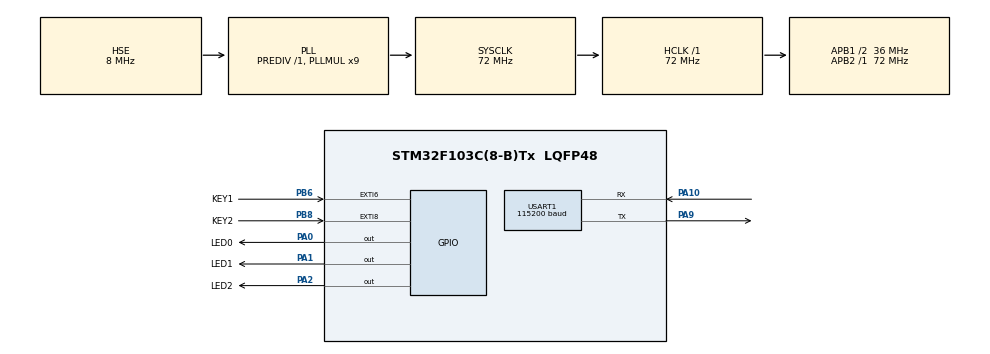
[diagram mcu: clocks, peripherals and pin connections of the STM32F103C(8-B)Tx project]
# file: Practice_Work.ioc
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Dma.Request0=USART1_RX
Dma.Request1=USART1_TX
Dma.USART1_RX.0.Direction=DMA_PERIPH_TO_MEMORY
Dma.USART1_RX.0.Instance=DMA1_Channel5
Dma.USART1_RX.0.MemDataAlignment=DMA_MDATAALIGN_BYTE
Dma.USART1_RX.0.MemInc=DMA_MINC_ENABLE
Dma.USART1_RX.0.Mode=DMA_NORMAL
Dma.USART1_RX.0.PeriphDataAlignment=DMA_PDATAALIGN_BYTE
Dma.USART1_RX.0.PeriphInc=DMA_PINC_DISABLE
Dma.USART1_RX.0.Priority=DMA_PRIORITY_LOW
Dma.USART1_TX.1.Direction=DMA_MEMORY_TO_PERIPH
Dma.USART1_TX.1.Instance=DMA1_Channel4
Dma.USART1_TX.1.MemDataAlignment=DMA_MDATAALIGN_BYTE
Dma.USART1_TX.1.MemInc=DMA_MINC_ENABLE
Dma.USART1_TX.1.Mode=DMA_NORMAL
Dma.USART1_TX.1.PeriphDataAlignment=DMA_PDATAALIGN_BYTE
Dma.USART1_TX.1.PeriphInc=DMA_PINC_DISABLE
Dma.USART1_TX.1.Priority=DMA_PRIORITY_LOW
Mcu.Family=STM32F1
Mcu.Name=STM32F103C(8-B)Tx
Mcu.Package=LQFP48
NVIC.DMA1_Channel4_IRQn=true\:0\:0\:false\:false\:true\:false\:true\:true
NVIC.DMA1_Channel5_IRQn=true\:0\:0\:false\:false\:true\:false\:true\:true
NVIC.EXTI9_5_IRQn=true\:0\:0\:false\:false\:true\:true\:true\:true
NVIC.PriorityGroup=NVIC_PRIORITYGROUP_4
NVIC.USART1_IRQn=true\:0\:0\:false\:false\:true\:true\:true\:true
PA0-WKUP.GPIO_Label=LED0
PA0-WKUP.PinState=GPIO_PIN_SET
PA0-WKUP.Signal=GPIO_Output
PA1.GPIO_Label=LED1
PA1.PinState=GPIO_PIN_SET
PA1.Signal=GPIO_Output
PA10.Mode=Asynchronous
PA10.Signal=USART1_RX
PA13.Mode=Serial_Wire
PA13.Signal=SYS_JTMS-SWDIO
PA14.Mode=Serial_Wire
PA14.Signal=SYS_JTCK-SWCLK
PA2.GPIO_Label=LED2
PA2.PinState=GPIO_PIN_SET
PA2.Signal=GPIO_Output
PA9.Mode=Asynchronous
PA9.Signal=USART1_TX
PB6.GPIO_Label=KEY1
PB6.GPIO_ModeDefaultEXTI=GPIO_MODE_IT_RISING
PB6.GPIO_PuPd=GPIO_PULLDOWN
PB6.Signal=GPXTI6
PB8.GPIO_Label=KEY2
PB8.GPIO_PuPd=GPIO_PULLDOWN
PB8.Signal=GPXTI8
PD0-OSC_IN.Mode=HSE-External-Oscillator
PD0-OSC_IN.Signal=RCC_OSC_IN
PD1-OSC_OUT.Mode=HSE-External-Oscillator
PD1-OSC_OUT.Signal=RCC_OSC_OUT
ProjectManager.HeapSize=0x200
ProjectManager.StackSize=0x400
ProjectManager.TargetToolchain=STM32CubeIDE
RCC.AHBFreq_Value=72000000
RCC.APB1CLKDivider=RCC_HCLK_DIV2
RCC.APB1Freq_Value=36000000
RCC.APB1TimFreq_Value=72000000
RCC.APB2Freq_Value=72000000
RCC.APB2TimFreq_Value=72000000
RCC.HCLKFreq_Value=72000000
RCC.PLLMUL=RCC_PLL_MUL9
RCC.PLLSourceVirtual=RCC_PLLSOURCE_HSE
RCC.SYSCLKFreq_VALUE=72000000
RCC.SYSCLKSource=RCC_SYSCLKSOURCE_PLLCLK
RCC.USBFreq_Value=72000000
USART1.BaudRate=115200
USART1.VirtualMode=VM_ASYNC
board=custom

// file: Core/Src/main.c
/* USER CODE BEGIN Header */
/**
  ******************************************************************************
  * @file           : main.c
  * @brief          : Main program body
  ******************************************************************************
  * @attention
  *
  * Copyright (c) 2026 STMicroelectronics.
  * All rights reserved.
  *
  * This software is licensed under terms that can be found in the LICENSE file
  * in the root directory of this software component.
  * If no LICENSE file comes with this software, it is provided AS-IS.
  *
  ******************************************************************************
  */
/* USER CODE END Header */
#include "main.h"
#include "dma.h"
#include "usart.h"
#include "gpio.h"

/* USER CODE BEGIN Includes */
#include "OLED.h"
#include <stdio.h>
#include <string.h>
/* USER CODE END Includes */

/* USER CODE BEGIN PTD */
typedef struct __attribute__((packed))//6字节 1包头位 1切灯控制位 1方向位 2延时位 1校验和
{
  uint8_t rx_header;
  uint8_t rx_run_cmd;
  uint8_t rx_dir;
  uint16_t rx_interval_ms;
  uint8_t rx_check_sum;
} ReceivePacket_t;
/* USER CODE END PTD */

/* USER CODE BEGIN PV */
//LED流水灯相关变量定义
int8_t led_chaser_status = 0;//流水灯状态机标志位置
uint32_t led_last_tick = 0;//流水灯最新时间戳
uint16_t run_interval_ms = 300;//切灯时间
uint8_t run_cmd = 1;//切灯允许控制
//按键相关变量定义
uint8_t key1_num = 0;//切换流水灯方向 0正向 1反向
uint8_t key2_num = 1;//控制流水灯是否切灯 0不切 1切

volatile uint8_t key1_trigger = 0;//按键1触发检测
volatile uint8_t key2_trigger = 0;//按键2触发检测

volatile uint32_t key1_tri_tick = 0;//按键1触发时间戳
volatile uint32_t key2_tri_tick = 0;//按键1触发时间戳
//串口相关变量定义
ReceivePacket_t receive_packet;//创建一个接收数据缓冲区
volatile uint8_t rx_ready = 0;//接收完成标志位
uint8_t tx_packet[80];//反馈发送缓冲区
volatile uint8_t tx_ready = 0;//可以发送标志位
//OLED相关变量定义
uint32_t oled_last_tick = 0; //OLED刷新时间戳

/* USER CODE END PV */

void SystemClock_Config(void);
/* USER CODE BEGIN PFP */
void Build_FeedBack_String(void);//拼接发送反馈字符串存到tx_packet中
/* USER CODE END PFP */

int main(void)
{

  /* MCU Configuration--------------------------------------------------------*/

  /* Reset of all peripherals, Initializes the Flash interface and the Systick. */
  HAL_Init();

  /* Configure the system clock */
  SystemClock_Config();

  /* Initialize all configured peripherals */
  MX_GPIO_Init();
  MX_DMA_Init();
  MX_USART1_UART_Init();
  /* USER CODE BEGIN 2 */
  led_last_tick = HAL_GetTick();//流水灯获取初始时间戳
  oled_last_tick = HAL_GetTick();//OLED获取初始化时间戳

  OLED_Init();//OLED显示初始化

  __HAL_UART_CLEAR_OREFLAG(&huart1);//清理溢出防串口失控
  HAL_UART_Receive_IT(&huart1, (uint8_t*)&receive_packet,sizeof(receive_packet));//上膛
  /* USER CODE END 2 */

  /* Infinite loop */
  /* USER CODE BEGIN WHILE */
  while (1)
  {
    //OLED部分
    if (HAL_GetTick() - oled_last_tick >= 20)//100ms刷新一次
    {
      oled_last_tick = HAL_GetTick();//更新时间戳

      char temp_buffer[17];//拼装存储地址

      if (key2_num)//1表切灯
        snprintf(temp_buffer,sizeof(temp_buffer),"STATE:RUN       ");
      else
        snprintf(temp_buffer,sizeof(temp_buffer),"STATE:STOP      ");
      OLED_ShowString(1,1, temp_buffer);

      if (key1_num)//1表反向
        snprintf(temp_buffer,sizeof(temp_buffer),"DIR:REV         ");
      else
        snprintf(temp_buffer,sizeof(temp_buffer),"DIR:FWD         ");
      OLED_ShowString(2,1, temp_buffer);

      snprintf(temp_buffer,sizeof(temp_buffer),"STEP:%04ums     ", run_interval_ms);//打印切灯时间
      OLED_ShowString(3,1, temp_buffer);

      snprintf(temp_buffer,sizeof(temp_buffer),"LED:%u          ", led_chaser_status);//打印亮的LED编号
      OLED_ShowString(4,1, temp_buffer);

    }
    //流水灯部分
    if (HAL_GetTick() - led_last_tick >= run_interval_ms)//轮询判断切灯时间到没到
    {
      led_last_tick = HAL_GetTick();//更新时间戳

      if (key2_num  == 1)//切灯使能判断
      {
        //先全部熄灭
        HAL_GPIO_WritePin(LED0_GPIO_Port, LED0_Pin, GPIO_PIN_SET);
        HAL_GPIO_WritePin(LED1_GPIO_Port, LED1_Pin, GPIO_PIN_SET);
        HAL_GPIO_WritePin(LED2_GPIO_Port, LED2_Pin, GPIO_PIN_SET);

        switch (led_chaser_status)//状态机选择亮的灯
        {
        case 0:
          HAL_GPIO_WritePin(LED0_GPIO_Port, LED0_Pin, GPIO_PIN_RESET);
          break;
        case 1:
          HAL_GPIO_WritePin(LED1_GPIO_Port, LED1_Pin, GPIO_PIN_RESET);
          break;
        case 2:
          HAL_GPIO_WritePin(LED2_GPIO_Port, LED2_Pin, GPIO_PIN_RESET);
          break;
        default:
          led_chaser_status = 0;//状态修正
          break;
        }

        //状态迁移 1反向 0正向
        if (key1_num)
          led_chaser_status--;
        else
          led_chaser_status++;

        //状态修正
        if (led_chaser_status == 3)
          led_chaser_status = 0;
        if (led_chaser_status == -1)
          led_chaser_status = 2;
      }
    }

    //按键修改流水灯状态部分
    if (key1_trigger && HAL_GetTick() - key1_tri_tick >= 20)//KEY1 切方向发生与否判断 + 延时消抖
    {
      if (HAL_GPIO_ReadPin(KEY1_GPIO_Port, KEY1_Pin) == GPIO_PIN_SET)//判断是否为震荡
      {
        while (HAL_GPIO_ReadPin(KEY1_GPIO_Port, KEY1_Pin) == GPIO_PIN_SET);//松手检测
        key1_num = !key1_num;//切灯方向取反
        tx_ready = 1;//打上发送标记
      }
      key1_trigger = 0;//无论是否为震荡 都消费
    }

    if (key2_trigger && HAL_GetTick() - key2_tri_tick >= 20)//KEY1 切灯使能判断 + 延时消抖
    {
      if (HAL_GPIO_ReadPin(KEY2_GPIO_Port, KEY2_Pin) == GPIO_PIN_SET)//判断是否为震荡
      {
        while (HAL_GPIO_ReadPin(KEY2_GPIO_Port, KEY2_Pin) == GPIO_PIN_SET);//松手检测
        key2_num = !key2_num;//切灯使能取反
        tx_ready = 1;//打上发送标记
      }
      key2_trigger = 0;//无论是否为震荡 都消费
    }

    //串口数据控制流水灯部分
    if (rx_ready)//发送完毕判断
    {
      rx_ready = 0;//消费
      ReceivePacket_t temp_packet = receive_packet;//拷贝防覆盖
      uint8_t *prx_packet = (uint8_t*)&temp_packet;
      uint8_t temp_sum = prx_packet[0] + prx_packet[1] + prx_packet[2] + prx_packet[3] + prx_packet[4];//实际校验和 高位截断
      if (temp_packet.rx_header == 0xAA //包头建议
        && temp_packet.rx_check_sum == temp_sum//校验和检验
        && temp_packet.rx_dir <= 1//防呆
        && temp_packet.rx_run_cmd <= 1//防呆
        && temp_packet.rx_interval_ms >= 100//时间合规检定
        && temp_packet.rx_interval_ms <= 2000)
      {
        //流水灯状态参数修改
        key1_num = temp_packet.rx_dir;//key控方向
        key2_num = temp_packet.rx_run_cmd;//key控切灯使能
        run_interval_ms = temp_packet.rx_interval_ms;//改切灯时间

        tx_ready = 1;//打上发送标记
      }
      //异常数据包直接丢弃
      __HAL_UART_CLEAR_OREFLAG(&huart1);//清理溢出防串口失控
      HAL_UART_Receive_IT(&huart1, (uint8_t*)&receive_packet,sizeof(receive_packet));//重上膛
    }

    //串口发送反馈
    if (tx_ready)//判断状态是否更新
    {
      if (huart1.gState == HAL_UART_STATE_READY)//判断uart1句柄是否空闲 防串口占用发送失败
      {
        Build_FeedBack_String();//把数据拼到tx_packet中
        HAL_UART_Transmit_DMA(&huart1, (uint8_t*)tx_packet,strlen((const char*)tx_packet));
        tx_ready = 0;//消费
      }
    }
    /* USER CODE END WHILE */

  }
}

void SystemClock_Config(void)
{
  RCC_OscInitTypeDef RCC_OscInitStruct = {0};
  RCC_ClkInitTypeDef RCC_ClkInitStruct = {0};

  /** Initializes the RCC Oscillators according to the specified parameters
  * in the RCC_OscInitTypeDef structure.
  */
  RCC_OscInitStruct.OscillatorType = RCC_OSCILLATORTYPE_HSE;
  RCC_OscInitStruct.HSEState = RCC_HSE_ON;
  RCC_OscInitStruct.HSEPredivValue = RCC_HSE_PREDIV_DIV1;
  RCC_OscInitStruct.HSIState = RCC_HSI_ON;
  RCC_OscInitStruct.PLL.PLLState = RCC_PLL_ON;
  RCC_OscInitStruct.PLL.PLLSource = RCC_PLLSOURCE_HSE;
  RCC_OscInitStruct.PLL.PLLMUL = RCC_PLL_MUL9;
  if (HAL_RCC_OscConfig(&RCC_OscInitStruct) != HAL_OK)
  {
    Error_Handler();
  }

  /** Initializes the CPU, AHB and APB buses clocks
  */
  RCC_ClkInitStruct.ClockType = RCC_CLOCKTYPE_HCLK|RCC_CLOCKTYPE_SYSCLK
                              |RCC_CLOCKTYPE_PCLK1|RCC_CLOCKTYPE_PCLK2;
  RCC_ClkInitStruct.SYSCLKSource = RCC_SYSCLKSOURCE_PLLCLK;
  RCC_ClkInitStruct.AHBCLKDivider = RCC_SYSCLK_DIV1;
  RCC_ClkInitStruct.APB1CLKDivider = RCC_HCLK_DIV2;
  RCC_ClkInitStruct.APB2CLKDivider = RCC_HCLK_DIV1;

  if (HAL_RCC_ClockConfig(&RCC_ClkInitStruct, FLASH_LATENCY_2) != HAL_OK)
  {
    Error_Handler();
  }
}

/* USER CODE BEGIN 4 */
void HAL_GPIO_EXTI_Callback(uint16_t GPIO_Pin)//按键中断处理
{
  if (GPIO_Pin == KEY1_Pin)//判断中断源
  {
    key1_trigger = 1;//打标记
    key1_tri_tick = HAL_GetTick();//记录时间
  }

  if (GPIO_Pin == KEY2_Pin)//判断中断源
  {
    key2_trigger = 1;//打标记
    key2_tri_tick = HAL_GetTick();//记录时间
  }
}

void HAL_UART_RxCpltCallback(UART_HandleTypeDef *huart)//接收完毕处理
{
  if (huart->Instance == USART1)//判断外设基地址
  {
    rx_ready = 1;//打标记
  }
}

void Build_FeedBack_String(void)//拼接发送反馈字符串存到tx_packet中
{
    snprintf(tx_packet, sizeof(tx_packet),"STATE=%s,DIR=%s,STEP=%ums,LED=%u\r\n",
      key2_num? "RUN" : "STOP", key1_num? "REV" : "FWD", run_interval_ms, led_chaser_status);
}

void HAL_UART_TxCpltCallback(UART_HandleTypeDef *huart)
{
  if (huart->Instance == USART1);//读一下基地址 无需手动操作
}
/* USER CODE END 4 */

void Error_Handler(void)
{
  __disable_irq();
  while (1)
  {
  }
}
